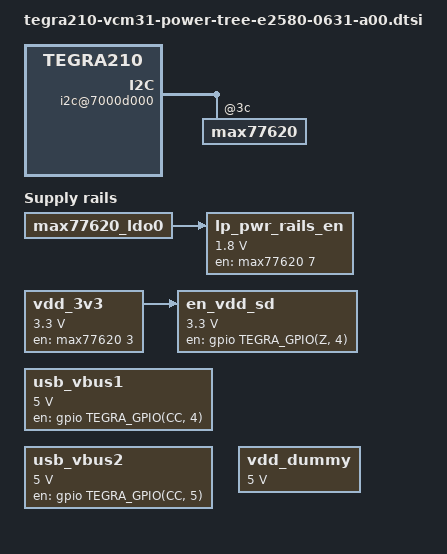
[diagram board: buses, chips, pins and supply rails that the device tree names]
/*
 * Copyright (c) 2014-2016, NVIDIA CORPORATION.  All rights reserved.
 *
 * This program is free software; you can redistribute it and/or modify
 * it under the terms of the GNU General Public License as published by
 * the Free Software Foundation; either version 2 of the License, or
 * (at your option) any later version.
 *
 * This program is distributed in the hope that it will be useful, but WITHOUT
 * ANY WARRANTY; without even the implied warranty of MERCHANTABILITY or
 * FITNESS FOR A PARTICULAR PURPOSE.  See the GNU General Public License for
 * more details.
 *
 * You should have received a copy of the GNU General Public License along
 * along with this program. If not, see <http://www.gnu.org/licenses/>.
 */

#include "tegra210-ers-pmic-e2174-1101-a00.dtsi"
#include "tegra210-ers-power-dvfs-e2174-1101-a00.dtsi"
#include "tegra210-overrides/tegra210-power-dvfs-override-vcm31.dtsi"

/ {
	i2c@7000d000 {
		max77620@3c {
			regulators {
				sd2 {
					maxim,active-fps-source = <MAX77620_FPS_SRC_1>;
					maxim,suspend-fps-source = <MAX77620_FPS_SRC_NONE>;
				};

				ldo0 {
					regulator-enable-ramp-delay = <26>;
					regulator-disable-ramp-delay = <626>;
					regulator-ramp-delay = <100000>;
					regulator-ramp-delay-scale = <200>;
				};

				ldo1 {
					regulator-enable-ramp-delay = <22>;
					regulator-disable-ramp-delay = <630>;
					regulator-ramp-delay = <100000>;
					regulator-ramp-delay-scale = <200>;
				};

				ldo2 {
					regulator-enable-ramp-delay = <62>;
					regulator-disable-ramp-delay = <650>;
					regulator-ramp-delay = <100000>;
					regulator-ramp-delay-scale = <200>;
				};

				ldo3 {
					regulator-enable-ramp-delay = <50>;
					regulator-disable-ramp-delay = <1110>;
					regulator-ramp-delay = <100000>;
					regulator-ramp-delay-scale = <200>;
				};

				ldo5 {
					regulator-enable-ramp-delay = <62>;
					regulator-disable-ramp-delay = <640>;
					regulator-ramp-delay = <100000>;
					regulator-ramp-delay-scale = <200>;
				};

				ldo6 {
					regulator-enable-ramp-delay = <36>;
					regulator-disable-ramp-delay = <674>;
					regulator-ramp-delay = <100000>;
					regulator-ramp-delay-scale = <200>;
				};

				ldo7 {
					maxim,active-fps-source = <MAX77620_FPS_SRC_1>;
					maxim,suspend-fps-source = <MAX77620_FPS_SRC_NONE>;
				};
			};
		};
	};

	regulators {
		compatible = "simple-bus";
		#address-cells = <1>;
		#size-cells = <0>;

		vdd_3v3: regulator@1 {
			compatible = "regulator-fixed-sync";
			reg = <1>;
			regulator-name = "vdd-3v3";
			regulator-min-microvolt = <3300000>;
			regulator-max-microvolt = <3300000>;
			regulator-always-on;
			gpio = <&max77620 3 0>;
			enable-active-high;
		};

		lp_pwr_rails_en: regulator@2 {
			compatible = "regulator-fixed-sync";
			reg = <2>;
			regulator-name = "lp_pwr_rails_en";
			regulator-min-microvolt = <1800000>;
			regulator-max-microvolt = <1800000>;
			regulator-boot-on;
			gpio = <&max77620 7 0>;
			enable-active-high;
			vin-supply = <&max77620_ldo0>;
		};

		en_vdd_sd: regulator@4 {
			compatible = "regulator-fixed-sync";
			reg = <4>;
			regulator-name = "en_vdd_sd";
			regulator-min-microvolt = <3300000>;
			regulator-max-microvolt = <3300000>;
			gpio = <&gpio TEGRA_GPIO(Z, 4) 0>;
			enable-active-high;
			vin-supply = <&vdd_3v3>;
		};

		usb_vbus1: regulator@14 {
			compatible = "regulator-fixed-sync";
			reg = <14>;
			regulator-name = "usb-vbus1";
			regulator-min-microvolt = <5000000>;
			regulator-max-microvolt = <5000000>;
			gpio = <&gpio TEGRA_GPIO(CC, 4) 0>;
			enable-active-high;
		};

		usb_vbus2: regulator@15 {
			compatible = "regulator-fixed-sync";
			reg = <15>;
			regulator-name = "usb-vbus2";
			regulator-min-microvolt = <5000000>;
			regulator-max-microvolt = <5000000>;
			gpio = <&gpio TEGRA_GPIO(CC, 5) 0>;
			enable-active-high;
		};

		vdd_dummy: regulator@17 {
			compatible = "regulator-fixed";
			reg = <17>;
			regulator-name = "vdd_dummy";
			regulator-min-microvolt = <5000000>;
			regulator-max-microvolt = <5000000>;
			regulator-always-on;
		};
	};

	host1x {
		/* tegradc.0 */
		dc@54200000 {
			avdd_hdmi-supply = <&max77620_ldo8>;
			avdd_hdmi_pll-supply = <&vdd_dummy>;
			vdd_hdmi_5v0-supply = <&vdd_dummy>;
		};

		vi {
			avdd_dsi_csi-supply = <&lp_pwr_rails_en>;
		};
	};

	sound {
		ldoen-supply = <&vdd_dummy>;
		spkvdd-supply = <&vdd_dummy>;
		dbvdd-supply = <&vdd_dummy>;
		dmicvdd-supply = <&vdd_dummy>;
	};

	xusb@70090000 {
		usb_vbus0-supply = <&vdd_dummy>;
		usb_vbus1-supply = <&usb_vbus1>;
		usb_vbus2-supply = <&usb_vbus2>;
		usb_vbus3-supply = <&vdd_dummy>;
		hvdd_usb-supply = <&vdd_dummy>;
		avdd_pll_utmip-supply = <&vdd_dummy>;
		vddio_hsic-supply = <&max77620_ldo0>;
		avddio_usb-supply = <&max77620_ldo1>;
		dvdd_sata-supply = <&max77620_ldo1>;
		avddio_pll_uerefe-supply = <&vdd_dummy>;
	};

	xudc@700d0000 {
		hvdd_usb-supply = <&vdd_dummy>;
		avdd_pll_utmip-supply = <&vdd_dummy>;
		avddio_usb-supply = <&max77620_ldo1>;
		avddio_pll_uerefe-supply = <&vdd_dummy>;
	};

	xotg {
		usb_vbus-supply = <&vdd_dummy>;
	};

	xusb_padctl {
		avdd_pll_uerefe-supply = <&max77620_ldo7>;
		hvdd_pex_pll_e-supply = <&max77620_sd3>;
		dvdd_pex_pll-supply = <&max77620_ldo1>;
		hvddio_pex-supply = <&max77620_sd3>;
		dvddio_pex-supply = <&max77620_ldo1>;
		hvdd_sata-supply = <&max77620_sd3>;
		dvdd_sata_pll-supply = <&max77620_ldo8>;
		hvddio_sata-supply = <&max77620_sd3>;
		dvddio_sata-supply = <&max77620_ldo8>;
	};

	/* SDMMC 4 for EMMC */
	sdhci@700b0600 {
		vddio_sdmmc-supply = <&max77620_sd3>;
	};

	/* SDMMC 3 for 2nd wifi */
	sdhci@700b0400 {
		vddio_sdmmc-supply = <&max77620_sd3>;
		vddio_sd_slot-supply = <&vdd_3v3>;
	};

	/* SDMMC 2 for wifi */
	sdhci@700b0200 {
		vddio_sdmmc-supply = <&vdd_dummy>;
		vddio_sd_slot-supply = <&vdd_dummy>;
	};

	/* SDMMC 1 for SD Card */
	sdhci@700b0000 {
		vddio_sdmmc-supply = <&max77620_ldo2>;
		vddio_sd_slot-supply = <&en_vdd_sd>;
	};

	sata@70020000 {
		hvdd_sata-supply = <&vdd_dummy>;
		hvdd_pex_pll_e-supply = <&vdd_dummy>;
		l0_hvddio_sata-supply = <&vdd_dummy>;
		l0_dvddio_sata-supply = <&max77620_ldo1>;
		dvdd_sata_pll-supply = <&max77620_ldo1>;
	};

	pmc-iopower {
		iopower-sys-supply = <&vdd_dummy>;
		iopower-uart-supply = <&vdd_dummy>;
		iopower-audio-supply = <&vdd_dummy>;
		iopower-cam-supply = <&vdd_dummy>;
		iopower-pex-ctrl-supply = <&vdd_dummy>;
		iopower-sdmmc1-supply = <&vdd_dummy>;
		iopower-sdmmc3-supply = <&vdd_dummy>;
		iopower-sdmmc4-supply = <&vdd_dummy>;
		iopower-audio-hv-supply = <&vdd_dummy>;
		iopower-debug-supply = <&vdd_dummy>;
		iopower-dmic-supply = <&vdd_dummy>;
		iopower-gpio-supply = <&vdd_dummy>;
		iopower-spi-supply = <&vdd_dummy>;
		iopower-spi-hv-supply = <&vdd_dummy>;
		iopower-sdmmc2-supply = <&vdd_dummy>;
		iopower-dp-supply = <&vdd_dummy>;
	};
};
